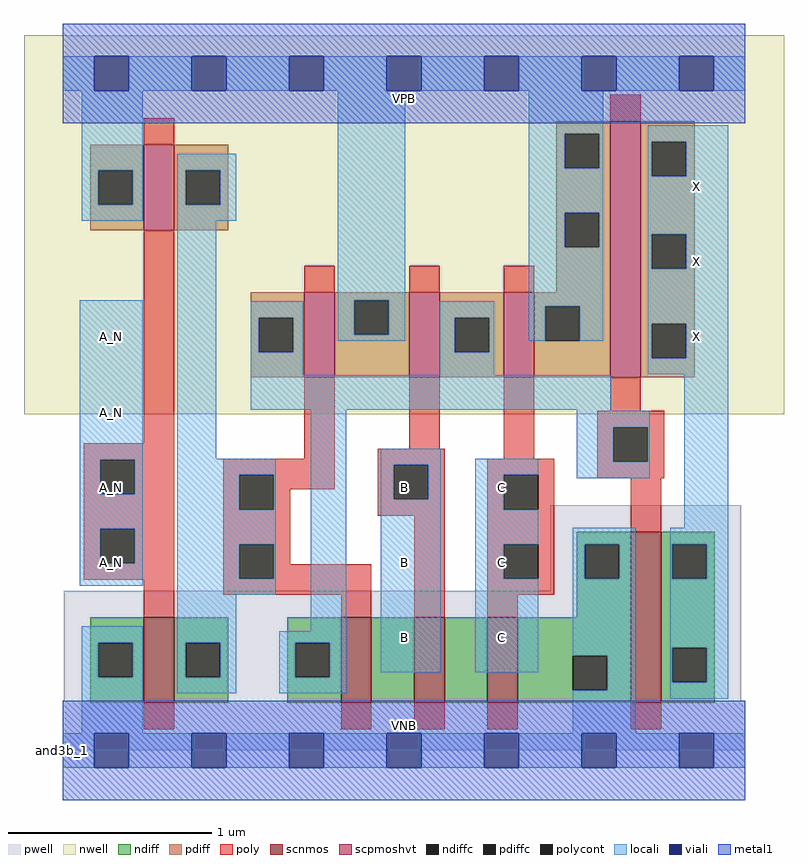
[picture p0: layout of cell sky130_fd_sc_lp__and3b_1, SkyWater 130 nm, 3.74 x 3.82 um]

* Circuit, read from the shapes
.subckt sky130_fd_sc_lp__and3b_1 A_N B C VGND VNB VPB VPWR X
XM1 n1 A_N VGND VNB sky130_fd_pr__nfet_01v8 w=0.42 l=0.15
XM2 n2 n1 n3 VNB sky130_fd_pr__nfet_01v8 w=0.42 l=0.15
XM3 n4 B n2 VNB sky130_fd_pr__nfet_01v8 w=0.42 l=0.15
XM4 VGND C n4 VNB sky130_fd_pr__nfet_01v8 w=0.42 l=0.15
XM5 X n3 VGND VNB sky130_fd_pr__nfet_01v8 w=0.84 l=0.15
XM6 n1 A_N VPWR VPB sky130_fd_pr__pfet_01v8_hvt w=0.42 l=0.15
XM7 VPWR n1 n3 VPB sky130_fd_pr__pfet_01v8_hvt w=0.42 l=0.15
XM8 n3 B VPWR VPB sky130_fd_pr__pfet_01v8_hvt w=0.42 l=0.15
XM9 VPWR C n3 VPB sky130_fd_pr__pfet_01v8_hvt w=0.42 l=0.15
XM10 X n3 VPWR VPB sky130_fd_pr__pfet_01v8_hvt w=1.26 l=0.15
.ends

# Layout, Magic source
magic
tech sky130A
magscale 1 2
<< nwell >>
rect -38 331 710 704
<< pwell >>
rect 480 157 668 241
rect 1 49 668 157
rect 0 0 672 49
<< scnmos >>
rect 80 47 110 131
rect 274 47 304 131
rect 346 47 376 131
rect 418 47 448 131
rect 559 47 589 215
<< scpmoshvt >>
rect 80 512 110 596
rect 238 367 268 451
rect 341 367 371 451
rect 434 367 464 451
rect 539 367 569 619
<< ndiff >>
rect 506 203 559 215
rect 506 169 514 203
rect 548 169 559 203
rect 506 131 559 169
rect 27 106 80 131
rect 27 72 35 106
rect 69 72 80 106
rect 27 47 80 72
rect 110 106 163 131
rect 110 72 121 106
rect 155 72 163 106
rect 110 47 163 72
rect 221 106 274 131
rect 221 72 229 106
rect 263 72 274 106
rect 221 47 274 72
rect 304 47 346 131
rect 376 47 418 131
rect 448 93 559 131
rect 448 59 502 93
rect 536 59 559 93
rect 448 47 559 59
rect 589 203 642 215
rect 589 169 600 203
rect 634 169 642 203
rect 589 101 642 169
rect 589 67 600 101
rect 634 67 642 101
rect 589 47 642 67
<< pdiff >>
rect 486 607 539 619
rect 27 571 80 596
rect 27 537 35 571
rect 69 537 80 571
rect 27 512 80 537
rect 110 571 163 596
rect 110 537 121 571
rect 155 537 163 571
rect 110 512 163 537
rect 486 573 494 607
rect 528 573 539 607
rect 486 529 539 573
rect 486 495 494 529
rect 528 495 539 529
rect 486 451 539 495
rect 185 426 238 451
rect 185 392 193 426
rect 227 392 238 426
rect 185 367 238 392
rect 268 443 341 451
rect 268 409 287 443
rect 321 409 341 443
rect 268 367 341 409
rect 371 426 434 451
rect 371 392 386 426
rect 420 392 434 426
rect 371 367 434 392
rect 464 437 539 451
rect 464 403 475 437
rect 509 403 539 437
rect 464 367 539 403
rect 569 599 622 619
rect 569 565 580 599
rect 614 565 622 599
rect 569 508 622 565
rect 569 474 580 508
rect 614 474 622 508
rect 569 420 622 474
rect 569 386 580 420
rect 614 386 622 420
rect 569 367 622 386
<< ndiffc >>
rect 514 169 548 203
rect 35 72 69 106
rect 121 72 155 106
rect 229 72 263 106
rect 502 59 536 93
rect 600 169 634 203
rect 600 67 634 101
<< pdiffc >>
rect 35 537 69 571
rect 121 537 155 571
rect 494 573 528 607
rect 494 495 528 529
rect 193 392 227 426
rect 287 409 321 443
rect 386 392 420 426
rect 475 403 509 437
rect 580 565 614 599
rect 580 474 614 508
rect 580 386 614 420
<< poly >>
rect 80 596 110 622
rect 539 619 569 645
rect 80 302 110 512
rect 238 451 268 477
rect 341 451 371 477
rect 434 451 464 477
rect 21 286 110 302
rect 238 287 268 367
rect 341 297 371 367
rect 21 252 37 286
rect 71 252 110 286
rect 21 218 110 252
rect 21 184 37 218
rect 71 184 110 218
rect 21 168 110 184
rect 80 131 110 168
rect 158 271 268 287
rect 158 237 174 271
rect 208 257 268 271
rect 310 281 376 297
rect 434 287 464 367
rect 539 334 569 367
rect 526 318 592 334
rect 208 237 224 257
rect 158 203 224 237
rect 310 247 326 281
rect 360 247 376 281
rect 310 231 376 247
rect 158 169 174 203
rect 208 183 224 203
rect 208 169 304 183
rect 158 153 304 169
rect 274 131 304 153
rect 346 131 376 231
rect 418 271 484 287
rect 418 237 434 271
rect 468 237 484 271
rect 526 284 542 318
rect 576 284 592 318
rect 526 268 592 284
rect 418 203 484 237
rect 559 215 589 268
rect 418 169 434 203
rect 468 169 484 203
rect 418 153 484 169
rect 418 131 448 153
rect 80 21 110 47
rect 274 21 304 47
rect 346 21 376 47
rect 418 21 448 47
rect 559 21 589 47
<< polycont >>
rect 37 252 71 286
rect 37 184 71 218
rect 174 237 208 271
rect 326 247 360 281
rect 174 169 208 203
rect 434 237 468 271
rect 542 284 576 318
rect 434 169 468 203
<< locali >>
rect 0 649 31 683
rect 65 649 127 683
rect 161 649 223 683
rect 257 649 319 683
rect 353 649 415 683
rect 449 649 511 683
rect 545 649 607 683
rect 641 649 672 683
rect 19 571 79 649
rect 19 537 35 571
rect 69 537 79 571
rect 19 521 79 537
rect 113 571 171 587
rect 113 537 121 571
rect 155 537 171 571
rect 113 521 171 537
rect 17 286 79 443
rect 17 252 37 286
rect 71 252 79 286
rect 17 218 79 252
rect 17 184 37 218
rect 71 184 79 218
rect 17 162 79 184
rect 113 287 151 521
rect 271 443 337 649
rect 185 426 237 442
rect 185 392 193 426
rect 227 392 237 426
rect 271 409 287 443
rect 321 409 337 443
rect 459 607 532 649
rect 459 573 494 607
rect 528 573 532 607
rect 459 529 532 573
rect 459 495 494 529
rect 528 495 532 529
rect 271 403 337 409
rect 371 426 425 442
rect 185 369 237 392
rect 371 392 386 426
rect 420 392 425 426
rect 459 437 532 495
rect 459 403 475 437
rect 509 403 532 437
rect 576 599 655 615
rect 576 565 580 599
rect 614 565 655 599
rect 576 508 655 565
rect 576 474 580 508
rect 614 474 655 508
rect 576 420 655 474
rect 371 369 425 392
rect 576 386 580 420
rect 614 386 655 420
rect 576 370 655 386
rect 185 335 540 369
rect 113 271 210 287
rect 113 237 174 271
rect 208 237 210 271
rect 113 203 210 237
rect 113 169 174 203
rect 208 169 210 203
rect 113 153 210 169
rect 19 106 79 122
rect 19 72 35 106
rect 69 72 79 106
rect 19 17 79 72
rect 113 106 171 153
rect 244 117 279 335
rect 506 334 540 335
rect 506 318 578 334
rect 113 72 121 106
rect 155 72 171 106
rect 113 56 171 72
rect 213 106 279 117
rect 213 72 229 106
rect 263 72 279 106
rect 313 281 372 297
rect 313 247 326 281
rect 360 247 372 281
rect 313 77 372 247
rect 406 271 468 287
rect 406 237 434 271
rect 506 284 542 318
rect 576 284 578 318
rect 506 268 578 284
rect 406 203 468 237
rect 612 219 655 370
rect 406 169 434 203
rect 406 77 468 169
rect 502 203 564 219
rect 502 169 514 203
rect 548 169 564 203
rect 502 93 564 169
rect 213 56 279 72
rect 536 59 564 93
rect 502 17 564 59
rect 598 203 655 219
rect 598 169 600 203
rect 634 169 655 203
rect 598 101 655 169
rect 598 67 600 101
rect 634 67 655 101
rect 598 51 655 67
rect 0 -17 31 17
rect 65 -17 127 17
rect 161 -17 223 17
rect 257 -17 319 17
rect 353 -17 415 17
rect 449 -17 511 17
rect 545 -17 607 17
rect 641 -17 672 17
<< viali >>
rect 31 649 65 683
rect 127 649 161 683
rect 223 649 257 683
rect 319 649 353 683
rect 415 649 449 683
rect 511 649 545 683
rect 607 649 641 683
rect 31 -17 65 17
rect 127 -17 161 17
rect 223 -17 257 17
rect 319 -17 353 17
rect 415 -17 449 17
rect 511 -17 545 17
rect 607 -17 641 17
<< metal1 >>
rect 0 683 672 715
rect 0 649 31 683
rect 65 649 127 683
rect 161 649 223 683
rect 257 649 319 683
rect 353 649 415 683
rect 449 649 511 683
rect 545 649 607 683
rect 641 649 672 683
rect 0 617 672 649
rect 0 17 672 49
rect 0 -17 31 17
rect 65 -17 127 17
rect 161 -17 223 17
rect 257 -17 319 17
rect 353 -17 415 17
rect 449 -17 511 17
rect 545 -17 607 17
rect 641 -17 672 17
rect 0 -49 672 -17
<< labels >>
flabel pwell s 0 0 672 49 0 FreeSans 200 0 0 0 VNB
port 5 nsew ground bidirectional
flabel nwell s 0 617 672 666 0 FreeSans 200 0 0 0 VPB
port 6 nsew power bidirectional
rlabel comment s 0 0 0 0 4 and3b_1
flabel metal1 s 0 617 672 666 0 FreeSans 340 0 0 0 VPWR
port 7 nsew power bidirectional
flabel metal1 s 0 0 672 49 0 FreeSans 340 0 0 0 VGND
port 4 nsew ground bidirectional
flabel locali s 319 94 353 128 0 FreeSans 340 0 0 0 B
port 2 nsew signal input
flabel locali s 319 168 353 202 0 FreeSans 340 0 0 0 B
port 2 nsew signal input
flabel locali s 319 242 353 276 0 FreeSans 340 0 0 0 B
port 2 nsew signal input
flabel locali s 415 168 449 202 0 FreeSans 340 0 0 0 C
port 3 nsew signal input
flabel locali s 415 242 449 276 0 FreeSans 340 0 0 0 C
port 3 nsew signal input
flabel locali s 31 168 65 202 0 FreeSans 340 0 0 0 A_N
port 1 nsew signal input
flabel locali s 31 242 65 276 0 FreeSans 340 0 0 0 A_N
port 1 nsew signal input
flabel locali s 31 316 65 350 0 FreeSans 340 0 0 0 A_N
port 1 nsew signal input
flabel locali s 31 390 65 424 0 FreeSans 340 0 0 0 A_N
port 1 nsew signal input
flabel locali s 607 390 641 424 0 FreeSans 340 0 0 0 X
port 8 nsew signal output
flabel locali s 607 464 641 498 0 FreeSans 340 0 0 0 X
port 8 nsew signal output
flabel locali s 607 538 641 572 0 FreeSans 340 0 0 0 X
port 8 nsew signal output
flabel locali s 415 94 449 128 0 FreeSans 340 0 0 0 C
port 3 nsew signal input
<< properties >>
string LEFsite unit
string LEFclass CORE
string FIXED_BBOX 0 0 672 666
string GDS_FILE $PDKPATH/libs.ref/sky130_fd_sc_lp/gds/sky130_fd_sc_lp.gds
string LEFsymmetry X Y R90
string GDS_END 6394724
string GDS_START 6387496
<< end >>
